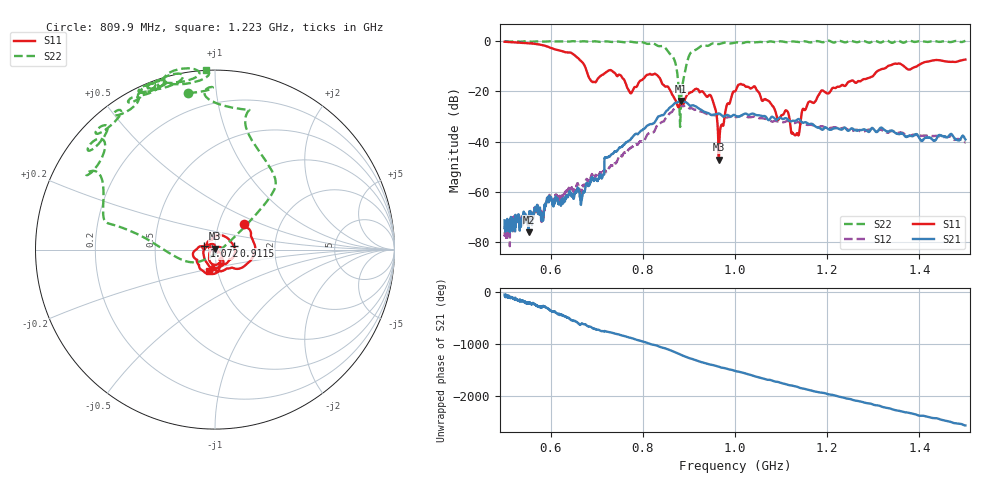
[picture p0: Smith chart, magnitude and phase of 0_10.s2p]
!Agilent Technologies,E8364B,US42250235,A.06.04.32
!Agilent E8364B: A.06.04.32
!Date: Thursday, October 01, 2020 15:47:37
!Correction: S11(Full 2 Port(1,2)) S21(Full 2 Port(1,2)) S12(Full 2 Port(1,2)) S22(Full 2 Port(1,2))
!S2P File: Measurements: S11, S21, S12, S22:
# Hz S  dB  R 50
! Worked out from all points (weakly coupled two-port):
!   2650 points, 500 MHz to 1.5 GHz, reference 50 ohm
!   highest |S21| = -23.80 dB at 882.4 MHz (marker M1); lowest = -76.2 dB at 552.1 MHz (marker M2)
!   lowest |S11| = -47.2 dB at 964.7 MHz (marker M3), VSWR 1.01, Z = 49.9 + j0.432 ohm
!   |S11| at or under -10 dB: 674.3 MHz to 1.331 GHz (657.1 MHz wide, 65.5 % of centre); 1.367 GHz to 1.395 GHz (27.9 MHz wide, 2.02 % of centre)
!   |S22| runs from -34.2 to 0.3 dB; largest |S21 - S12| = 0.014
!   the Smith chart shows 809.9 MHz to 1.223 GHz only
!   S11 on the Smith chart (normalised r, x): 809.9 MHz: 1.32, +0.39; 911.5 MHz: 1.23, +0.05; 1.072 GHz: 0.88, +0.04; 1.223 GHz: 0.91, -0.22
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5e8  -0.23 -175.3  -71.39 -44.0  -77.21 -83.5  -0.01 143.3
5.520951e8  -0.77 154.6  -76.20 140.0  -73.51 169.3  -0.10 137.4
5.977727e8  -2.50 120.1  -62.62 15.2  -62.15 21.8  -0.04 129.9
6.668554e8  -8.07 60.4  -63.80 115.1  -60.04 143.5  -0.07 124.9
6.902605e8  -16.18 67.7  -54.08 30.4  -53.31 53.5  -0.11 120.7
7.302756e8  -11.51 72.9  -45.43 -55.2  -49.68 -44.0  -0.29 116.6
7.733107e8  -20.75 53.0  -39.15 -158.5  -42.58 -160.2  -0.22 109.5
8.099283e8  -13.35 41.2  -33.61 102.0  -37.17 109.3  -1.06 99.7
8.337108e8  -14.10 -22.6  -29.99 38.5  -33.00 43.1  -1.93 85.3
8.673084e8  -22.40 -142.0  -25.03 -64.9  -26.94 -58.7  -6.98 44.4
8.824085e8  -24.60 133.5  -23.80 -125.0  -25.56 -121.1  -25.60 -125.4
8.967535e8  -21.23 68.6  -24.74 -179.5  -26.19 -174.3  -7.87 170.1
9.11476e8  -19.41 11.2  -25.75 137.2  -27.38 141.0  -3.72 162.7
9.484711e8  -22.10 -106.4  -29.42 41.8  -29.28 42.5  -1.13 135.6
9.647037e8  -47.22 96.9  -28.79 4.7  -29.09 3.6  -1.14 137.0
1.000189e9  -19.97 -75.1  -29.56 -78.3  -30.16 -81.1  -0.53 124.2
1.072291e9  -23.76 162.2  -31.44 110.2  -31.47 104.6  -0.20 109.3
1.133447e9  -36.92 68.4  -31.55 -20.1  -32.34 -28.0  -0.26 112.2
1.166667e9  -24.34 -66.5  -32.96 -98.1  -33.39 -103.8  -0.41 102.8
1.222914e9  -18.14 -105.7  -34.75 153.3  -34.75 139.4  0.02 92.9
1.333522e9  -9.77 -145.7  -35.97 -76.5  -36.28 -84.9  0.01 97.9
1.5e9  -7.30 143.1  -39.17 -49.5  -40.32 -68.6  0.15 70.8
